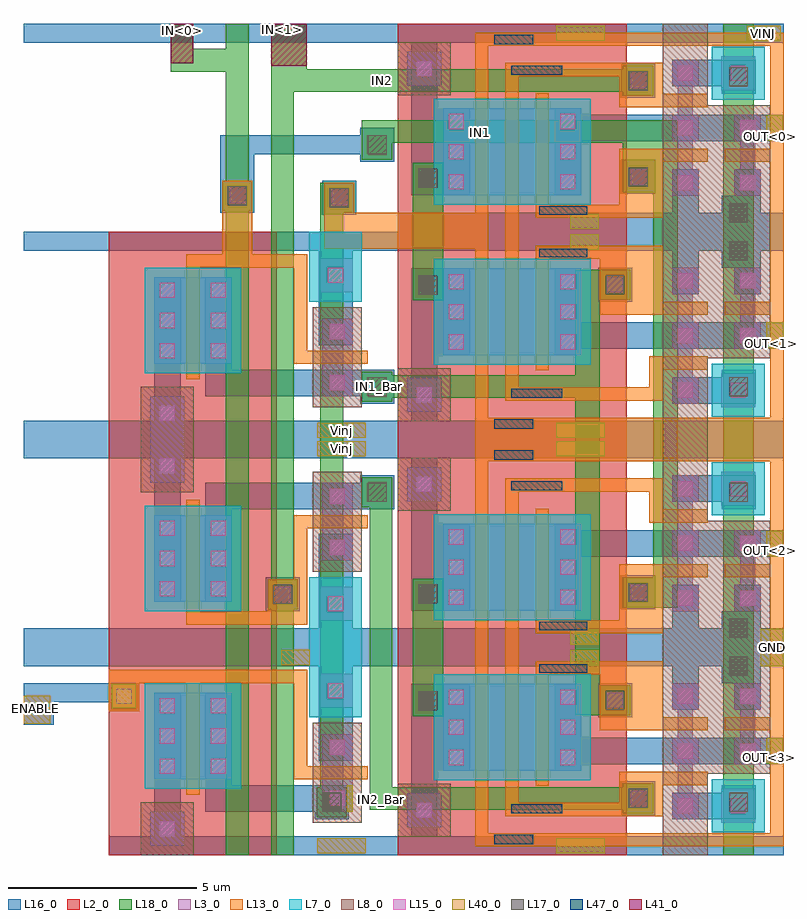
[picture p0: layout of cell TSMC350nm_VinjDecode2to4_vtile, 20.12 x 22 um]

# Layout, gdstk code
import gdstk
lib = gdstk.Library(unit=1e-6, precision=1e-09)
def R(c, l, rs):  # rectangles x0, y0, x1, y1
    for r in rs: c.add(gdstk.rectangle(r[:2], r[2:], *l))
def A(c, l, x, y, w, h, nx, ny, dx, dy):  # array of equal rectangles
    R(c, l, [(x+i*dx, y+j*dy, x+i*dx+w, y+j*dy+h) for i in range(nx) for j in range(ny)])
def P(c, l, *ps):  # polygons
    for p in ps: c.add(gdstk.Polygon(p, *l))
L2_0 = (2, 0)
L3_0 = (3, 0)
L7_0 = (7, 0)
L8_0 = (8, 0)
L13_0 = (13, 0)
L15_0 = (15, 0)
L16_0 = (16, 0)
L17_0 = (17, 0)
L18_0 = (18, 0)
L40_0 = (40, 0)
L41_0 = (41, 0)
L47_0 = (47, 0)

m1_poly1__190324780_cdns = lib.new_cell('M1_POLY1$$190324780_CDNS_744346762542')
R(m1_poly1__190324780_cdns, L13_0, [(-0.4,-0.4,0.4,0.4)])
R(m1_poly1__190324780_cdns, L15_0, [(-0.2,-0.2,0.2,0.2)])
R(m1_poly1__190324780_cdns, L16_0, [(-0.35,-0.35,0.35,0.35)])

tsmc350nm_vinjinv2 = lib.new_cell('TSMC350nm_VinjInv2')
R(tsmc350nm_vinjinv2, L2_0, [(0,0,4.45,5.5)])
R(tsmc350nm_vinjinv2, L3_0, [(5.55,0.7,6.45,1.6), (1.2,1.2,1.9,3.5), (1.2,1.2,1.9,3.5), (1.9,1.2,2.55,3.5), (2.55,1.2,3.25,3.5), (2.55,1.2,3.25,3.5), (5.65,2.3,6.45,3), (5.65,2.3,6.45,3), (5.65,3,6.45,3.65), (5.65,3.65,6.45,4.35), (5.65,3.65,6.45,4.35), (1.1,4.35,2,5.25)])
R(tsmc350nm_vinjinv2, L7_0, [(5.3,0,6.7,1.85), (0.95,0.95,3.5,3.75)])
R(tsmc350nm_vinjinv2, L8_0, [(5.4,2,6.7,4.65), (0.85,4.1,2.25,5.5)])
R(tsmc350nm_vinjinv2, L13_0, [(0,0.6,5.25,0.95), (4.9,0.6,5.25,3.5), (2.05,0.8,2.4,3.9), (5.25,3.15,6.85,3.5)])
A(tsmc350nm_vinjinv2, L15_0, 1.35, 1.35, 0.4, 0.4, 1, 3, 0, 0.8)
A(tsmc350nm_vinjinv2, L15_0, 2.7, 1.35, 0.4, 0.4, 1, 3, 0, 0.8)
R(tsmc350nm_vinjinv2, L15_0, [(5.8,0.95,6.2,1.35), (5.85,2.45,6.25,2.85), (5.85,3.8,6.25,4.2), (1.35,4.6,1.75,5)])
R(tsmc350nm_vinjinv2, L16_0, [(0,0,7.65,0.5), (5.55,0.02,6.45,3), (1.2,1.2,1.9,3.5), (1.2,1.2,1.9,5.45), (2.55,1.2,3.25,3.5), (2.55,1.2,3.25,4.25), (5.65,2.3,6.45,3), (2.55,3.65,6.45,4.35), (5.65,3.65,6.45,4.35), (0,5,7.65,5.5)])
R(tsmc350nm_vinjinv2, L40_0, [(4.57,0.06,5.32,0.47), (0.07,0.97,0.71,1.62), (6.3,3.65,6.45,4.35), (5.52,5.05,6.8,5.46)])
tsmc350nm_vinjinv2.add(gdstk.Reference(m1_poly1__190324780_cdns, (0.4,1.3)))
tsmc350nm_vinjinv2.add(gdstk.Label('& SerialNumber 000000', (5.65,3.5), layer=16, texttype=0))
tsmc350nm_vinjinv2.add(gdstk.Label('& Distributor VIS', (5.65,3.5), layer=16, texttype=0))
tsmc350nm_vinjinv2.add(gdstk.Label('& Metric 1', (5.65,3.5), layer=16, texttype=0))
tsmc350nm_vinjinv2.add(gdstk.Label('& Version    \t  1.7A', (5.65,3.5), layer=16, texttype=0))
tsmc350nm_vinjinv2.add(gdstk.Label('& PDKName     vis35cv', (5.65,3.5), layer=16, texttype=0))
tsmc350nm_vinjinv2.add(gdstk.Label('& Vendor VIS Corp.', (5.65,3.5), layer=16, texttype=0))
tsmc350nm_vinjinv2.add(gdstk.Label('& SerialNumber 000000', (2.05,1.2), layer=16, texttype=0))
tsmc350nm_vinjinv2.add(gdstk.Label('& Distributor VIS', (2.05,1.2), layer=16, texttype=0))
tsmc350nm_vinjinv2.add(gdstk.Label('& Metric 1', (2.05,1.2), layer=16, texttype=0))
tsmc350nm_vinjinv2.add(gdstk.Label('& Version    \t  1.7A', (2.05,1.2), layer=16, texttype=0))
tsmc350nm_vinjinv2.add(gdstk.Label('& PDKName     vis35cv', (2.05,1.2), layer=16, texttype=0))
tsmc350nm_vinjinv2.add(gdstk.Label('& Vendor VIS Corp.', (2.05,1.2), layer=16, texttype=0))
tsmc350nm_vinjinv2.add(gdstk.Label('& SerialNumber 000000', (2.05,1.2), layer=63, texttype=63))
tsmc350nm_vinjinv2.add(gdstk.Label('& Distributor VIS', (2.05,1.2), layer=63, texttype=63))
tsmc350nm_vinjinv2.add(gdstk.Label('& Metric 1', (2.05,1.2), layer=63, texttype=63))
tsmc350nm_vinjinv2.add(gdstk.Label('& Version    \t  1.7A', (2.05,1.2), layer=63, texttype=63))
tsmc350nm_vinjinv2.add(gdstk.Label('& PDKName     vis35cv', (2.05,1.2), layer=63, texttype=63))
tsmc350nm_vinjinv2.add(gdstk.Label('& Vendor VIS Corp.', (2.05,1.2), layer=63, texttype=63))
tsmc350nm_vinjinv2.add(gdstk.Label('& SerialNumber 000000', (5.65,3.5), layer=63, texttype=63))
tsmc350nm_vinjinv2.add(gdstk.Label('& Vendor VIS Corp.', (5.65,3.5), layer=63, texttype=63))
tsmc350nm_vinjinv2.add(gdstk.Label('& PDKName     vis35cv', (5.65,3.5), layer=63, texttype=63))
tsmc350nm_vinjinv2.add(gdstk.Label('& Version    \t  1.7A', (5.65,3.5), layer=63, texttype=63))
tsmc350nm_vinjinv2.add(gdstk.Label('& Metric 1', (5.65,3.5), layer=63, texttype=63))
tsmc350nm_vinjinv2.add(gdstk.Label('& Distributor VIS', (5.65,3.5), layer=63, texttype=63))
tsmc350nm_vinjinv2.add(gdstk.Label('OUT', (6.38,3.94), layer=40, texttype=0))
tsmc350nm_vinjinv2.add(gdstk.Label('Vinj', (6.17,5.25), layer=40, texttype=0))
tsmc350nm_vinjinv2.add(gdstk.Label('IN', (0.39,1.28), layer=40, texttype=0))
tsmc350nm_vinjinv2.add(gdstk.Label('VGND', (4.97,0.26), layer=40, texttype=0))

m1_pactive_cdns_71349154 = lib.new_cell('M1_PACTIVE_CDNS_713491541816')
R(m1_pactive_cdns_71349154, L3_0, [(-0.45,-0.45,0.45,0.45)])
R(m1_pactive_cdns_71349154, L7_0, [(-0.7,-0.7,0.7,0.7)])
R(m1_pactive_cdns_71349154, L15_0, [(-0.2,-0.2,0.2,0.2)])
R(m1_pactive_cdns_71349154, L16_0, [(-0.35,-0.35,0.35,0.35)])

m1_nwell_cdns_7134915418 = lib.new_cell('M1_NWELL_CDNS_713491541817')
R(m1_nwell_cdns_7134915418, L2_0, [(-0.65,-0.65,0.65,0.65)])
R(m1_nwell_cdns_7134915418, L3_0, [(-0.45,-0.45,0.45,0.45)])
R(m1_nwell_cdns_7134915418, L8_0, [(-0.7,-0.7,0.7,0.7)])
R(m1_nwell_cdns_7134915418, L15_0, [(-0.2,-0.2,0.2,0.2)])
R(m1_nwell_cdns_7134915418, L16_0, [(-0.35,-0.35,0.35,0.35)])

prog_periph_via2_cdns_74 = lib.new_cell('prog_periph_VIA2_CDNS_744346762540')
R(prog_periph_via2_cdns_74, L16_0, [(-0.45,-0.45,0.45,0.45)])
R(prog_periph_via2_cdns_74, L17_0, [(-0.25,-0.25,0.25,0.25)])
R(prog_periph_via2_cdns_74, L18_0, [(-0.4,-0.4,0.4,0.4)])

tsmc350nm_vinjnor3 = lib.new_cell('TSMC350nm_VinjNOR3')
R(tsmc350nm_vinjnor3, L2_0, [(0,0,6.06,5.5)])
A(tsmc350nm_vinjnor3, L3_0, 7.26, 0.95, 0.7, 0.7, 1, 3, 0, 1.45)
R(tsmc350nm_vinjnor3, L3_0, [(7.41,0.95,7.81,1.65), (8.91,0.95,9.61,1.65), (9.06,0.95,9.46,1.65), (1.2,0.97,1.9,3.27), (1.2,0.97,1.9,3.27), (1.9,0.97,4.85,3.27), (4.15,0.97,4.85,3.27), (4.15,0.97,4.85,3.27), (7.41,1.65,7.81,2.4), (9.06,1.65,9.46,2.4), (8.91,2.4,9.61,3.1), (9.06,2.4,9.46,3.1), (7.41,3.1,7.81,3.85), (7.41,3.85,7.81,4.55)])
R(tsmc350nm_vinjnor3, L7_0, [(0.95,0.72,5.11,3.52)])
P(tsmc350nm_vinjnor3, L8_0, [(8.21,5.5),(7.01,5.5),(7.01,0),(9.86,0),(9.86,3.35),(8.21,3.35)])
R(tsmc350nm_vinjnor3, L13_0, [(3.65,0.37,7.01,0.72), (6.66,0.37,7.01,2.2), (2.05,0.57,2.4,5.26), (2.85,0.57,3.2,4.47), (3.65,0.57,4,3.67), (7.01,1.85,8.21,2.2), (8.66,1.85,9.86,2.2), (9.86,1.85,10.21,5.26), (6.66,3.3,7.01,4.47), (7.01,3.3,8.21,3.65), (2.85,4.12,7.01,4.47), (2.05,4.92,10.21,5.27)])
A(tsmc350nm_vinjnor3, L15_0, 7.41, 1.1, 0.4, 0.4, 1, 3, 0, 1.45)
A(tsmc350nm_vinjnor3, L15_0, 1.35, 1.12, 0.4, 0.4, 1, 3, 0, 0.8)
A(tsmc350nm_vinjnor3, L15_0, 4.3, 1.12, 0.4, 0.4, 1, 3, 0, 0.8)
R(tsmc350nm_vinjnor3, L15_0, [(9.06,1.1,9.46,1.5), (9.06,2.55,9.46,2.95)])
A(tsmc350nm_vinjnor3, L16_0, 7.26, 0.95, 0.7, 0.7, 1, 3, 0, 1.45)
R(tsmc350nm_vinjnor3, L16_0, [(0,0,10.21,0.5), (7.26,0,7.96,1.65), (8.91,0,9.61,1.65), (8.91,0.95,9.61,1.65), (0.35,0.97,1.9,3.27), (1.2,0.97,1.9,3.27), (4.15,0.97,4.85,3.27), (0.35,1.2,1.05,5.5), (4.16,2.4,10.21,3.1), (8.91,2.4,9.61,3.1), (7.26,3.85,9.36,4.55), (0,5,10.21,5.5)])
R(tsmc350nm_vinjnor3, L18_0, [(8.62,0,9.42,0.1), (8.62,0,9.42,5.5)])
R(tsmc350nm_vinjnor3, L40_0, [(4.57,0.06,5.32,0.47), (9.75,2.41,10.2,3.09), (4.2,5.05,5.48,5.46)])
R(tsmc350nm_vinjnor3, L47_0, [(3.74,0.45,5.02,0.68), (3,4.16,4.35,4.4), (2.55,4.97,3.58,5.22)])
tsmc350nm_vinjnor3.add(gdstk.Reference(m1_pactive_cdns_71349154, (9.01,4.2)))
tsmc350nm_vinjnor3.add(gdstk.Reference(m1_nwell_cdns_7134915418, (0.7,4.32)))
tsmc350nm_vinjnor3.add(gdstk.Reference(prog_periph_via2_cdns_74, (9.02,4.1)))
tsmc350nm_vinjnor3.add(gdstk.Reference(prog_periph_via2_cdns_74, (9.02,0.5)))
tsmc350nm_vinjnor3.add(gdstk.Label('& SerialNumber 000000', (7.41,3.65), layer=16, texttype=0))
tsmc350nm_vinjnor3.add(gdstk.Label('& Distributor VIS', (7.41,3.65), layer=16, texttype=0))
tsmc350nm_vinjnor3.add(gdstk.Label('& Metric 1', (7.41,3.65), layer=16, texttype=0))
tsmc350nm_vinjnor3.add(gdstk.Label('& Version    \t  1.7A', (7.41,3.65), layer=16, texttype=0))
tsmc350nm_vinjnor3.add(gdstk.Label('& PDKName     vis35cv', (7.41,3.65), layer=16, texttype=0))
tsmc350nm_vinjnor3.add(gdstk.Label('& Vendor VIS Corp.', (7.41,3.65), layer=16, texttype=0))
tsmc350nm_vinjnor3.add(gdstk.Label('& SerialNumber 000000', (9.06,2.2), layer=16, texttype=0))
tsmc350nm_vinjnor3.add(gdstk.Label('& Distributor VIS', (9.06,2.2), layer=16, texttype=0))
tsmc350nm_vinjnor3.add(gdstk.Label('& Metric 1', (9.06,2.2), layer=16, texttype=0))
tsmc350nm_vinjnor3.add(gdstk.Label('& Version    \t  1.7A', (9.06,2.2), layer=16, texttype=0))
tsmc350nm_vinjnor3.add(gdstk.Label('& PDKName     vis35cv', (9.06,2.2), layer=16, texttype=0))
tsmc350nm_vinjnor3.add(gdstk.Label('& Vendor VIS Corp.', (9.06,2.2), layer=16, texttype=0))
tsmc350nm_vinjnor3.add(gdstk.Label('& SerialNumber 000000', (2.05,0.94), layer=16, texttype=0))
tsmc350nm_vinjnor3.add(gdstk.Label('& Distributor VIS', (2.05,0.94), layer=16, texttype=0))
tsmc350nm_vinjnor3.add(gdstk.Label('& Vendor VIS Corp.', (2.05,0.94), layer=16, texttype=0))
tsmc350nm_vinjnor3.add(gdstk.Label('& Version    \t  1.7A', (2.05,0.94), layer=16, texttype=0))
tsmc350nm_vinjnor3.add(gdstk.Label('& PDKName     vis35cv', (2.05,0.94), layer=16, texttype=0))
tsmc350nm_vinjnor3.add(gdstk.Label('& Metric 1', (2.05,0.94), layer=16, texttype=0))
tsmc350nm_vinjnor3.add(gdstk.Label('& SerialNumber 000000', (7.41,3.65), layer=63, texttype=63))
tsmc350nm_vinjnor3.add(gdstk.Label('& Distributor VIS', (7.41,3.65), layer=63, texttype=63))
tsmc350nm_vinjnor3.add(gdstk.Label('& Metric 1', (7.41,3.65), layer=63, texttype=63))
tsmc350nm_vinjnor3.add(gdstk.Label('& Version    \t  1.7A', (7.41,3.65), layer=63, texttype=63))
tsmc350nm_vinjnor3.add(gdstk.Label('& PDKName     vis35cv', (7.41,3.65), layer=63, texttype=63))
tsmc350nm_vinjnor3.add(gdstk.Label('& Vendor VIS Corp.', (7.41,3.65), layer=63, texttype=63))
tsmc350nm_vinjnor3.add(gdstk.Label('& SerialNumber 000000', (9.06,2.2), layer=63, texttype=63))
tsmc350nm_vinjnor3.add(gdstk.Label('& Distributor VIS', (9.06,2.2), layer=63, texttype=63))
tsmc350nm_vinjnor3.add(gdstk.Label('& Metric 1', (9.06,2.2), layer=63, texttype=63))
tsmc350nm_vinjnor3.add(gdstk.Label('& Version    \t  1.7A', (9.06,2.2), layer=63, texttype=63))
tsmc350nm_vinjnor3.add(gdstk.Label('& PDKName     vis35cv', (9.06,2.2), layer=63, texttype=63))
tsmc350nm_vinjnor3.add(gdstk.Label('& Vendor VIS Corp.', (9.06,2.2), layer=63, texttype=63))
tsmc350nm_vinjnor3.add(gdstk.Label('& Vendor VIS Corp.', (2.05,0.94), layer=63, texttype=63))
tsmc350nm_vinjnor3.add(gdstk.Label('& Metric 1', (2.05,0.94), layer=63, texttype=63))
tsmc350nm_vinjnor3.add(gdstk.Label('& PDKName     vis35cv', (2.05,0.94), layer=63, texttype=63))
tsmc350nm_vinjnor3.add(gdstk.Label('& Version    \t  1.7A', (2.05,0.94), layer=63, texttype=63))
tsmc350nm_vinjnor3.add(gdstk.Label('& SerialNumber 000000', (2.05,0.94), layer=63, texttype=63))
tsmc350nm_vinjnor3.add(gdstk.Label('& Distributor VIS', (2.05,0.94), layer=63, texttype=63))
tsmc350nm_vinjnor3.add(gdstk.Label('OUT', (10,2.75), layer=40, texttype=0))
tsmc350nm_vinjnor3.add(gdstk.Label('VGND', (4.97,0.26), layer=40, texttype=0))
tsmc350nm_vinjnor3.add(gdstk.Label('VINJ', (4.84,5.25), layer=40, texttype=0))
tsmc350nm_vinjnor3.add(gdstk.Label('NENABLE', (3.04,5.09), layer=47, texttype=0))
tsmc350nm_vinjnor3.add(gdstk.Label('IN1', (3.67,4.27), layer=47, texttype=0))
tsmc350nm_vinjnor3.add(gdstk.Label('IN2', (4.37,0.55), layer=47, texttype=0))

c_m1_poly1__190324780_cdns = lib.new_cell('M1_POLY1$$190324780_CDNS_744346762541')
R(c_m1_poly1__190324780_cdns, L13_0, [(-0.4,-0.4,0.4,0.4)])
R(c_m1_poly1__190324780_cdns, L15_0, [(-0.2,-0.2,0.2,0.2)])
R(c_m1_poly1__190324780_cdns, L16_0, [(-0.45,-0.45,0.45,0.45)])

tsmc350nm_vinjdecode2to4 = lib.new_cell('TSMC350nm_VinjDecode2to4_vtile')
R(tsmc350nm_vinjdecode2to4, L2_0, [(2.26,5.5,6.71,11), (2.26,11,6.71,16.5)])
R(tsmc350nm_vinjdecode2to4, L3_0, [(7.81,6.2,8.71,7.1), (3.46,6.7,4.16,9), (3.46,6.7,4.16,9), (4.16,6.7,4.81,9), (4.81,6.7,5.51,9), (4.81,6.7,5.51,9), (7.91,7.8,8.71,8.5), (7.91,7.8,8.71,8.5), (7.91,8.5,8.71,9.15), (7.91,9.15,8.71,9.85), (7.91,9.15,8.71,9.85), (3.36,9.85,4.26,10.75), (3.36,10.75,4.26,11.25), (3.36,11.25,4.26,12.15), (7.91,12.15,8.71,12.85), (7.91,12.15,8.71,12.85), (7.91,12.85,8.71,13.5), (3.46,13,4.16,15.3), (3.46,13,4.16,15.3), (4.16,13,4.81,15.3), (4.81,13,5.51,15.3), (4.81,13,5.51,15.3), (7.91,13.5,8.71,14.2), (7.91,13.5,8.71,14.2), (7.81,14.9,8.71,15.8)])
R(tsmc350nm_vinjdecode2to4, L7_0, [(7.56,5.5,8.96,7.35), (3.21,6.45,5.76,9.25), (3.21,12.75,5.76,15.55), (7.56,14.65,8.96,16.5)])
R(tsmc350nm_vinjdecode2to4, L8_0, [(7.66,7.5,8.96,10.15), (3.11,9.6,4.51,11), (3.11,11,4.51,12.4), (7.66,11.85,8.96,14.5)])
R(tsmc350nm_vinjdecode2to4, L13_0, [(15.77,1.03,16.57,2.2), (15.26,3.3,16.57,4.78), (19.77,3.65,20.12,7.35), (11.96,4.93,12.31,6.07), (12.76,4.93,13.11,6.07), (4.31,6.1,7.51,6.45), (7.16,6.1,7.51,9), (15.77,6.22,16.57,7.7), (4.31,6.3,4.66,9.4), (6.46,6.45,7.26,6.5), (7.51,8.65,9.11,9), (11.96,10.42,20.12,11.58), (11.96,10.77,12.31,11.23), (4.31,12.6,4.66,15.7), (7.16,13,7.51,15.9), (7.51,13,9.11,13.35), (15.26,14.3,16.57,15.78), (19.77,14.65,20.12,18.35), (4.31,15.55,7.51,15.9), (5.26,15.9,6.06,17.85), (11.96,15.93,12.31,17.07), (12.76,15.93,13.11,17.07), (7.96,16.05,12.28,17), (15.77,17.22,16.57,18.7), (15.77,19.8,16.57,20.96)])
A(tsmc350nm_vinjdecode2to4, L15_0, 3.61, 6.85, 0.4, 0.4, 1, 3, 0, 0.8)
A(tsmc350nm_vinjdecode2to4, L15_0, 4.96, 6.85, 0.4, 0.4, 1, 3, 0, 0.8)
A(tsmc350nm_vinjdecode2to4, L15_0, 3.61, 13.15, 0.4, 0.4, 1, 3, 0, 0.8)
A(tsmc350nm_vinjdecode2to4, L15_0, 4.96, 13.15, 0.4, 0.4, 1, 3, 0, 0.8)
R(tsmc350nm_vinjdecode2to4, L15_0, [(8.06,6.45,8.46,6.85), (8.11,7.95,8.51,8.35), (8.11,9.3,8.51,9.7), (3.61,10.1,4.01,10.5), (3.61,11.5,4.01,11.9), (8.11,12.3,8.51,12.7), (8.11,13.65,8.51,14.05), (8.06,15.15,8.46,15.55)])
R(tsmc350nm_vinjdecode2to4, L16_0, [(0,3.45,0.8,4.05), (2.26,4.05,2.31,4.55), (2.26,5.5,9.91,6), (7.81,5.52,8.71,8.5), (3.46,6.7,4.16,9), (3.46,6.7,4.16,10.95), (4.81,6.7,5.51,9), (4.81,6.7,5.51,9.75), (7.91,7.8,8.71,8.5), (4.81,9.15,8.71,9.85), (7.91,9.15,8.71,9.85), (8.71,9.15,8.91,9.85), (2.26,10.5,9.91,11), (2.26,11,9.91,11.5), (3.46,11.05,4.16,15.3), (4.81,12.15,8.71,12.85), (7.91,12.15,8.71,12.85), (8.71,12.15,8.91,12.85), (4.81,12.25,5.51,15.3), (3.46,13,4.16,15.3), (4.81,13,5.51,15.3), (7.81,13.5,8.71,16.48), (7.91,13.5,8.71,14.2), (2.26,16,9.91,16.5), (5.21,17.9,6.11,19.05), (2.26,21.5,9.91,22)])
R(tsmc350nm_vinjdecode2to4, L18_0, [(6.56,0,7.16,22), (7.86,1,8.46,17.8), (9.16,1.2,9.76,9.8), (10.31,3.68,11.11,7.32), (14.61,3.7,15.26,15.5), (16.67,6.55,17.32,18.35), (18.53,10,18.64,10.1), (19.24,10,19.33,10.1), (18.53,10.1,19.33,11.9), (18.53,11.9,18.64,12), (19.24,11.9,19.33,12), (10.31,14.68,11.11,18.32), (15.87,17.55,17.32,19.45), (7.16,20.8,7.5,20.89), (7.16,20.89,7.5,22)])
R(tsmc350nm_vinjdecode2to4, L40_0, [(19.66,2.41,20.11,3.09), (0.01,3.48,0.71,4.21), (19.52,5,20.12,5.99), (19.66,7.92,20.11,8.59), (7.78,10.55,9.06,10.96), (7.78,11.04,9.06,11.45), (19.66,13.41,20.12,14.1), (19.66,18.91,20.11,19.59), (19.15,21.56,20.05,21.96)])
R(tsmc350nm_vinjdecode2to4, L41_0, [(6.56,20.89,7.5,22), (3.9,20.96,4.5,22)])
tsmc350nm_vinjdecode2to4.add(gdstk.FlexPath([(4.2,21.04),(5.66,21.04)], 0.6, ends=(0.3, 0), simple_path=True, layer=18, datatype=0))  # L18_0
tsmc350nm_vinjdecode2to4.add(gdstk.FlexPath([(4.2,20.85),(4.2,22)], 0.6, ends="flush", simple_path=True, layer=18, datatype=0))  # L18_0
tsmc350nm_vinjdecode2to4.add(gdstk.FlexPath([(5.66,0),(5.66,22)], 0.6, ends="flush", simple_path=True, layer=18, datatype=0))  # L18_0
tsmc350nm_vinjdecode2to4.add(gdstk.FlexPath([(16.27,1.5),(9.16,1.5)], 0.6, ends="flush", simple_path=True, layer=18, datatype=0))  # L18_0
tsmc350nm_vinjdecode2to4.add(gdstk.FlexPath([(15.26,12.4),(9.16,12.4)], 0.6, ends="flush", simple_path=True, layer=18, datatype=0))  # L18_0
tsmc350nm_vinjdecode2to4.add(gdstk.FlexPath([(16.27,20.5),(6.86,20.5)], 0.6, ends=(0, 0.3), simple_path=True, layer=18, datatype=0))  # L18_0
tsmc350nm_vinjdecode2to4.add(gdstk.FlexPath([(17.32,19.15),(8.96,19.15)], 0.6, ends="flush", simple_path=True, layer=18, datatype=0))  # L18_0
tsmc350nm_vinjdecode2to4.add(gdstk.FlexPath([(5.21,18.8),(9.36,18.8)], 0.5, ends="flush", simple_path=True, layer=16, datatype=0))  # L16_0
tsmc350nm_vinjdecode2to4.add(gdstk.FlexPath([(2.31,4.3),(0,4.3)], 0.5, ends="flush", simple_path=True, layer=16, datatype=0))  # L16_0
tsmc350nm_vinjdecode2to4.add(gdstk.FlexPath([(2.26,5.75),(0,5.75)], 0.5, ends="flush", simple_path=True, layer=16, datatype=0))  # L16_0
tsmc350nm_vinjdecode2to4.add(gdstk.FlexPath([(2.26,5.25),(0,5.25)], 0.5, ends="flush", simple_path=True, layer=16, datatype=0))  # L16_0
tsmc350nm_vinjdecode2to4.add(gdstk.FlexPath([(2.26,11.25),(0,11.25)], 0.5, ends="flush", simple_path=True, layer=16, datatype=0))  # L16_0
tsmc350nm_vinjdecode2to4.add(gdstk.FlexPath([(2.26,10.75),(0,10.75)], 0.5, ends="flush", simple_path=True, layer=16, datatype=0))  # L16_0
tsmc350nm_vinjdecode2to4.add(gdstk.FlexPath([(2.26,16.25),(0,16.25)], 0.5, ends="flush", simple_path=True, layer=16, datatype=0))  # L16_0
tsmc350nm_vinjdecode2to4.add(gdstk.FlexPath([(2.26,21.75),(0,21.75)], 0.5, ends="flush", simple_path=True, layer=16, datatype=0))  # L16_0
r = gdstk.Reference(tsmc350nm_vinjinv2, (2.26,5.5), x_reflection=True); r.repetition = gdstk.Repetition(1, 1, v1=(6.85,0), v2=(0,-5.5)); tsmc350nm_vinjdecode2to4.add(r)
r = gdstk.Reference(tsmc350nm_vinjnor3, (9.91,16.5)); r.repetition = gdstk.Repetition(1, 1, v1=(0,0), v2=(0,5.5)); tsmc350nm_vinjdecode2to4.add(r)
r = gdstk.Reference(tsmc350nm_vinjnor3, (9.91,16.5), x_reflection=True); r.repetition = gdstk.Repetition(1, 1, v1=(0,0), v2=(0,-5.5)); tsmc350nm_vinjdecode2to4.add(r)
r = gdstk.Reference(tsmc350nm_vinjnor3, (9.91,5.5), x_reflection=True); r.repetition = gdstk.Repetition(1, 1, v1=(0,0), v2=(0,-5.5)); tsmc350nm_vinjdecode2to4.add(r)
r = gdstk.Reference(tsmc350nm_vinjnor3, (9.91,5.5)); r.repetition = gdstk.Repetition(1, 1, v1=(0,0), v2=(0,5.5)); tsmc350nm_vinjdecode2to4.add(r)
tsmc350nm_vinjdecode2to4.add(gdstk.Reference(prog_periph_via2_cdns_74, (10.71,6.92)))
tsmc350nm_vinjdecode2to4.add(gdstk.Reference(prog_periph_via2_cdns_74, (9.36,18.8)))
tsmc350nm_vinjdecode2to4.add(gdstk.Reference(prog_periph_via2_cdns_74, (6.86,6.9)))
tsmc350nm_vinjdecode2to4.add(gdstk.Reference(prog_periph_via2_cdns_74, (5.66,17.45)))
tsmc350nm_vinjdecode2to4.add(gdstk.Reference(prog_periph_via2_cdns_74, (10.71,17.92)))
tsmc350nm_vinjdecode2to4.add(gdstk.Reference(prog_periph_via2_cdns_74, (10.71,15.08)))
tsmc350nm_vinjdecode2to4.add(gdstk.Reference(prog_periph_via2_cdns_74, (8.16,1.4)))
tsmc350nm_vinjdecode2to4.add(gdstk.Reference(prog_periph_via2_cdns_74, (10.71,4.08)))
tsmc350nm_vinjdecode2to4.add(gdstk.Reference(prog_periph_via2_cdns_74, (8.36,17.4)))
tsmc350nm_vinjdecode2to4.add(gdstk.Reference(prog_periph_via2_cdns_74, (9.36,9.6)))
tsmc350nm_vinjdecode2to4.add(gdstk.Reference(prog_periph_via2_cdns_74, (9.36,12.4)))
tsmc350nm_vinjdecode2to4.add(gdstk.Reference(prog_periph_via2_cdns_74, (16.27,1.5)))
tsmc350nm_vinjdecode2to4.add(gdstk.Reference(prog_periph_via2_cdns_74, (16.27,20.5)))
tsmc350nm_vinjdecode2to4.add(gdstk.Reference(prog_periph_via2_cdns_74, (15.66,4.1)))
tsmc350nm_vinjdecode2to4.add(gdstk.Reference(prog_periph_via2_cdns_74, (15.66,15.1)))
tsmc350nm_vinjdecode2to4.add(gdstk.Reference(prog_periph_via2_cdns_74, (16.27,17.95)))
tsmc350nm_vinjdecode2to4.add(gdstk.Reference(prog_periph_via2_cdns_74, (16.27,6.95)))
tsmc350nm_vinjdecode2to4.add(gdstk.Reference(c_m1_poly1__190324780_cdns, (5.66,17.45)))
tsmc350nm_vinjdecode2to4.add(gdstk.Reference(c_m1_poly1__190324780_cdns, (6.86,6.9)))
tsmc350nm_vinjdecode2to4.add(gdstk.Reference(c_m1_poly1__190324780_cdns, (8.36,17.4)))
tsmc350nm_vinjdecode2to4.add(gdstk.Reference(c_m1_poly1__190324780_cdns, (16.27,1.5)))
tsmc350nm_vinjdecode2to4.add(gdstk.Reference(c_m1_poly1__190324780_cdns, (16.27,20.5)))
tsmc350nm_vinjdecode2to4.add(gdstk.Reference(c_m1_poly1__190324780_cdns, (15.66,4.1)))
tsmc350nm_vinjdecode2to4.add(gdstk.Reference(c_m1_poly1__190324780_cdns, (15.66,15.1)))
tsmc350nm_vinjdecode2to4.add(gdstk.Reference(c_m1_poly1__190324780_cdns, (16.27,17.95)))
tsmc350nm_vinjdecode2to4.add(gdstk.Reference(c_m1_poly1__190324780_cdns, (16.27,6.95)))
tsmc350nm_vinjdecode2to4.add(gdstk.Label('IN2_Bar', (9.48,1.47), layer=18, texttype=0))
tsmc350nm_vinjdecode2to4.add(gdstk.Label('IN1_Bar', (9.43,12.39), layer=18, texttype=0))
tsmc350nm_vinjdecode2to4.add(gdstk.Label('IN1', (12.11,19.14), layer=18, texttype=0))
tsmc350nm_vinjdecode2to4.add(gdstk.Label('IN2', (9.5,20.5), layer=18, texttype=0))
tsmc350nm_vinjdecode2to4.add(gdstk.Label('Vinj', (8.43,10.75), layer=40, texttype=0))
tsmc350nm_vinjdecode2to4.add(gdstk.Label('Vinj', (8.43,11.25), layer=40, texttype=0))
tsmc350nm_vinjdecode2to4.add(gdstk.Label('OUT<0>', (19.77,19.02), layer=40, texttype=0))
tsmc350nm_vinjdecode2to4.add(gdstk.Label('OUT<1>', (19.8,13.55), layer=40, texttype=0))
tsmc350nm_vinjdecode2to4.add(gdstk.Label('OUT<2>', (19.77,8.06), layer=40, texttype=0))
tsmc350nm_vinjdecode2to4.add(gdstk.Label('OUT<3>', (19.76,2.59), layer=40, texttype=0))
tsmc350nm_vinjdecode2to4.add(gdstk.Label('ENABLE', (0.32,3.87), layer=40, texttype=0))
tsmc350nm_vinjdecode2to4.add(gdstk.Label('GND', (19.82,5.49), layer=40, texttype=0))
tsmc350nm_vinjdecode2to4.add(gdstk.Label('VINJ', (19.59,21.76), layer=40, texttype=0))
tsmc350nm_vinjdecode2to4.add(gdstk.Label('IN<1>', (6.86,21.85), layer=41, texttype=0))
tsmc350nm_vinjdecode2to4.add(gdstk.Label('IN<0>', (4.21,21.83), layer=41, texttype=0))

lib.write_gds('TSMC350nm_VinjDecode2to4_vtile.gds')
